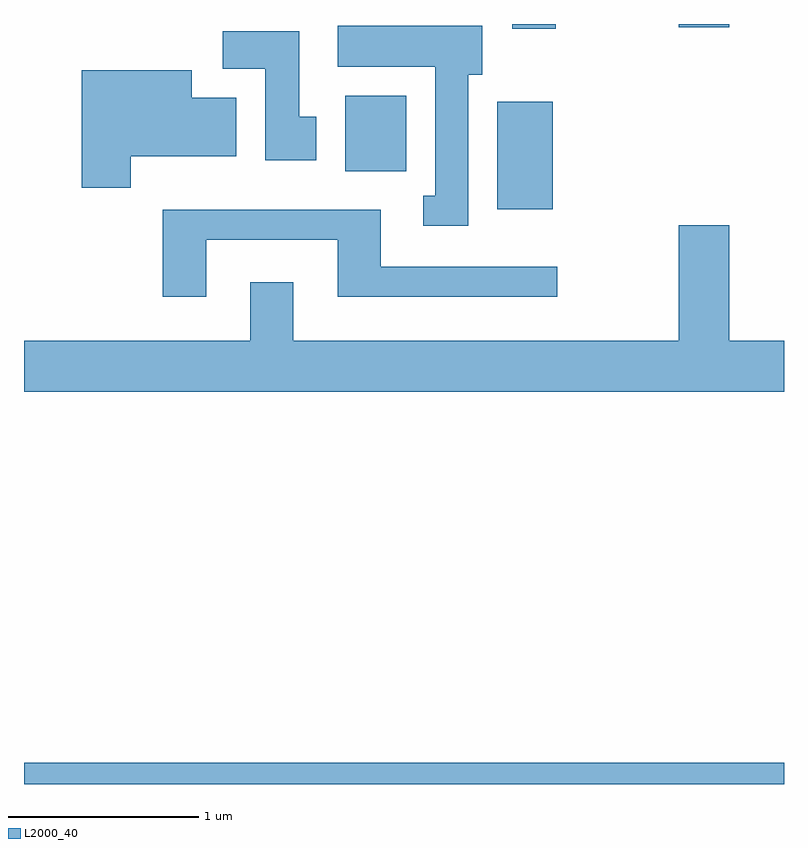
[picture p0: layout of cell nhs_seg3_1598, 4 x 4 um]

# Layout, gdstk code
import gdstk
lib = gdstk.Library(unit=1e-6, precision=1e-09)
def R(c, l, rs):  # rectangles x0, y0, x1, y1
    for r in rs: c.add(gdstk.rectangle(r[:2], r[2:], *l))
def P(c, l, *ps):  # polygons
    for p in ps: c.add(gdstk.Polygon(p, *l))
L2000_40 = (2000, 40)

nhs_seg3_1598 = lib.new_cell('nhs_seg3_1598')
R(nhs_seg3_1598, L2000_40, [(231.611,1183.892,235.611,1184.004), (234.101,1186.916,234.394,1187.484), (233.301,1187.116,233.624,1187.514), (234.181,1187.866,234.409,1187.892), (235.056,1187.876,235.324,1187.892)])
P(nhs_seg3_1598, L2000_40, [(233.949,1187.626),(234.024,1187.626),(234.024,1187.884),(233.261,1187.884),(233.261,1187.666),(233.776,1187.666),(233.776,1186.989),(233.713,1186.989),(233.713,1186.831),(233.949,1186.831)],
  [(233.149,1187.404),(233.059,1187.404),(233.059,1187.854),(232.656,1187.854),(232.656,1187.656),(232.881,1187.656),(232.881,1187.176),(233.149,1187.176)],
  [(232.174,1187.196),(232.729,1187.196),(232.729,1187.504),(232.494,1187.504),(232.494,1187.649),(231.916,1187.649),(231.916,1187.031),(232.174,1187.031)],
  [(232.569,1186.756),(233.261,1186.756),(233.261,1186.456),(234.418,1186.456),(234.418,1186.614),(233.489,1186.614),(233.489,1186.914),(232.341,1186.914),(232.341,1186.456),(232.569,1186.456)],
  [(235.611,1186.224),(235.324,1186.224),(235.324,1186.834),(235.056,1186.834),(235.056,1186.224),(233.029,1186.224),(233.029,1186.534),(232.801,1186.534),(232.801,1186.224),(231.611,1186.224),(231.611,1185.956),(235.611,1185.956)])

lib.write_gds('nhs_seg3_1598.gds')
